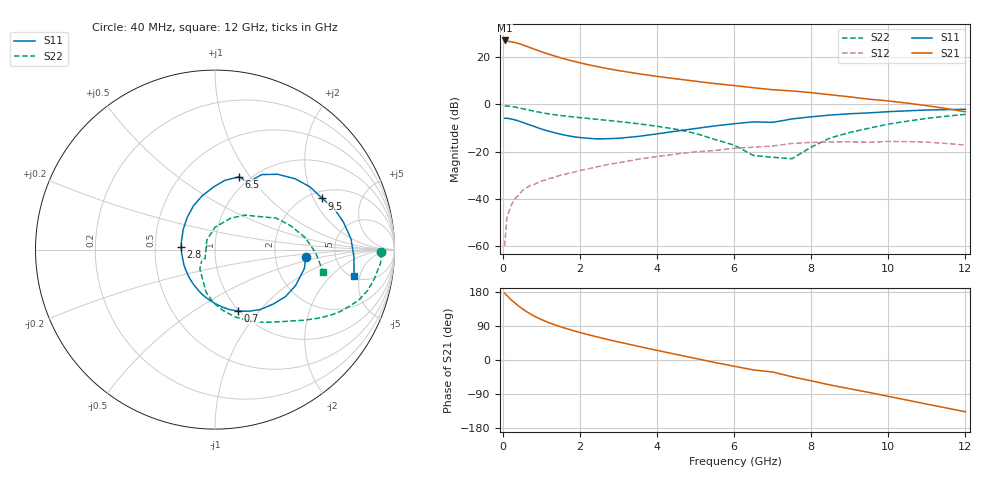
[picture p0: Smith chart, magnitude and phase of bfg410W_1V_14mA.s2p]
! Filename: 114bfg410.001
! BFG410W Field B1
! V1=8.979E-001V,V2=1.000E+000V, I1=2.441E-004A, I2=1.398E-002A
# GHz  S  MA  R 50
!  S11  S21  S12  S22
!Freq(GHz)  Mag  Ang  Mag  Ang  Mag  Ang  Mag  Ang
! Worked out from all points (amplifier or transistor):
!   44 points, 40 MHz to 12 GHz, reference 50 ohm
!   highest |S21| = 27.1 dB at 40 MHz (marker M1)
!   |S21| within 3 dB of that: start of sweep to 695.6 MHz
!   unconditionally stable (mu >= 1): start of sweep to 72.56 MHz; 1.223 GHz to end of sweep
!   at 700 MHz: K = 0.72, MSG = 29.2 dB, |S12| = -34.4 dB
!   at 2.4 GHz: K = 1.29, MAG = 18.1 dB, |S12| = -26.6 dB
!   at 12 GHz: K = 1.61, MAG = 2.5 dB, |S12| = -17.2 dB
!   S11 on the Smith chart (normalised r, x): 40 MHz: 3.02, -0.33; 700 MHz: 0.99, -0.78; 2.8 GHz: 0.68, +0.02; 6.5 GHz: 0.89, +0.89; 9.5 GHz: 2.31, +2.34; 12 GHz: 5.28, -4.03
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0.04  0.507 -4.6  22.54 176.1  0.001 63.3  0.924 -1.0
0.1  0.509 -11.9  22.11 170.3  0.004 84.5  0.926 -4.5
0.2  0.492 -23.9  21.03 159.7  0.007 78.2  0.903 -10.3
0.3  0.472 -33.7  20.49 151.2  0.01 74.7  0.88 -15.1
0.4  0.445 -42.8  19.46 142.7  0.012 70.9  0.848 -19.4
0.5  0.418 -53.2  18.27 135.1  0.015 67.6  0.812 -22.9
0.7  0.366 -69.3  15.9 122.1  0.019 63.0  0.748 -28.9
0.8  0.343 -76.7  14.86 116.4  0.02 61.5  0.719 -31.2
1  0.301 -89.7  13 106.6  0.024 59.1  0.669 -35.3
1.3  0.256 -107.5  10.78 94.4  0.028 56.7  0.611 -40.3
1.7  0.216 -129.4  8.709 81.1  0.035 54.3  0.557 -46.0
2.2  0.192 -155.0  6.943 67.1  0.043 51.2  0.505 -53.3
2.8  0.189 176.2  5.55 52.2  0.055 46.0  0.451 -62.3
3.5  0.21 147.4  4.473 36.2  0.069 38.5  0.39 -73.6
4.5  0.272 116.2  3.468 14.6  0.089 25.2  0.297 -91.6
5.5  0.351 90.7  2.752 -6.7  0.106 9.6  0.181 -112.3
6.5  0.427 71.7  2.249 -26.3  0.124 -4.9  0.083 -147.7
7.5  0.493 58.0  1.926 -44.2  0.149 -17.2  0.071 129.7
8.5  0.596 41.5  1.597 -66.1  0.16 -38.8  0.196 63.5
9.5  0.662 25.5  1.289 -85.6  0.158 -57.3  0.314 35.7
10.5  0.732 12.0  1.061 -106.0  0.163 -76.7  0.442 17.5
12  0.788 -10.6  0.7 -136.6  0.138 -111.4  0.615 -11.6
